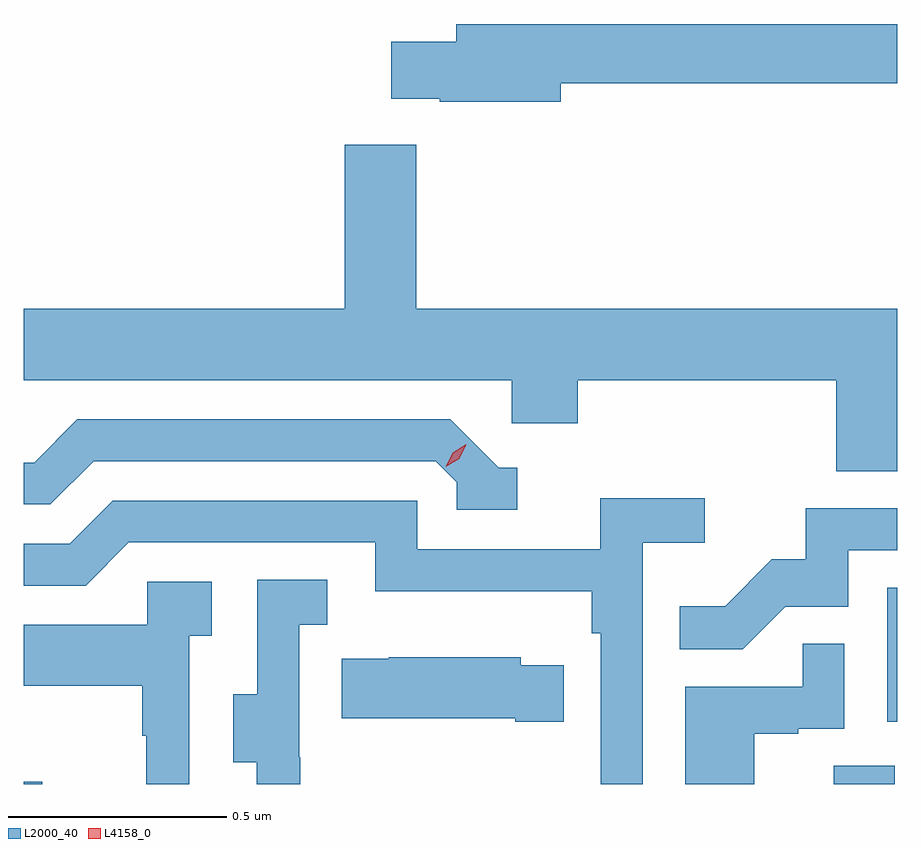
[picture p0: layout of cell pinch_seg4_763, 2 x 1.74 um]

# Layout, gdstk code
import gdstk
lib = gdstk.Library(unit=1e-6, precision=1e-09)
def R(c, l, rs):  # rectangles x0, y0, x1, y1
    for r in rs: c.add(gdstk.rectangle(r[:2], r[2:], *l))
def P(c, l, *ps):  # polygons
    for p in ps: c.add(gdstk.Polygon(p, *l))
L2000_40 = (2000, 40)
L4158_0 = (4158, 0)

pinch_seg4_763 = lib.new_cell('pinch_seg4_763')
R(pinch_seg4_763, L2000_40, [(859.577,819.872,859.619,819.877), (861.431,819.872,861.571,819.914), (861.554,820.014,861.577,820.321)])
P(pinch_seg4_763, L2000_40, [(860.806,821.476),(861.577,821.476),(861.577,821.612),(860.567,821.612),(860.567,821.571),(860.418,821.571),(860.418,821.441),(860.53,821.441),(860.53,821.434),(860.806,821.434)],
  [(861.577,820.96),(860.476,820.96),(860.476,821.335),(860.312,821.335),(860.312,820.96),(859.577,820.96),(859.577,820.796),(860.694,820.796),(860.694,820.698),(860.846,820.698),(860.846,820.796),(861.437,820.796),(861.437,820.588),(861.577,820.588)],
  [(860.707,820.596),(860.664,820.596),(860.553,820.707),(859.7,820.707),(859.601,820.608),(859.577,820.608),(859.577,820.512),(859.638,820.512),(859.737,820.611),(860.52,820.611),(860.568,820.563),(860.568,820.5),(860.707,820.5)],
  [(860.994,820.424),(861.136,820.424),(861.136,820.526),(860.897,820.526),(860.897,820.41),(860.478,820.41),(860.478,820.521),(859.781,820.521),(859.682,820.422),(859.577,820.422),(859.577,820.326),(859.719,820.326),(859.818,820.425),(860.382,820.425),(860.382,820.313),(860.878,820.313),(860.878,820.217),(860.898,820.217),(860.898,819.872),(860.994,819.872)],
  [(861.321,820.278),(861.465,820.278),(861.465,820.407),(861.577,820.407),(861.577,820.503),(861.367,820.503),(861.367,820.386),(861.29,820.386),(861.183,820.279),(861.079,820.279),(861.079,820.18),(861.223,820.18)],
  [(860.21,819.933),(860.208,819.933),(860.208,820.237),(860.272,820.237),(860.272,820.34),(860.112,820.34),(860.112,820.077),(860.057,820.077),(860.057,819.922),(860.111,819.922),(860.111,819.872),(860.21,819.872)],
  [(859.956,820.211),(860.008,820.211),(860.008,820.335),(859.86,820.335),(859.86,820.237),(859.577,820.237),(859.577,820.097),(859.848,820.097),(859.848,819.983),(859.858,819.983),(859.858,819.872),(859.956,819.872)],
  [(861.25,819.987),(861.35,819.987),(861.35,819.999),(861.456,819.999),(861.456,820.193),(861.361,820.193),(861.361,820.095),(861.092,820.095),(861.092,819.872),(861.25,819.872)],
  [(860.813,820.144),(860.715,820.144),(860.715,820.162),(860.413,820.162),(860.413,820.159),(860.305,820.159),(860.305,820.022),(860.702,820.022),(860.702,820.015),(860.813,820.015)])
P(pinch_seg4_763, L4158_0, [(860.543,820.598),(860.543,820.598),(860.559,820.63),(860.59,820.65),(860.59,820.65),(860.59,820.649),(860.574,820.617),(860.543,820.598)])

lib.write_gds('pinch_seg4_763.gds')
